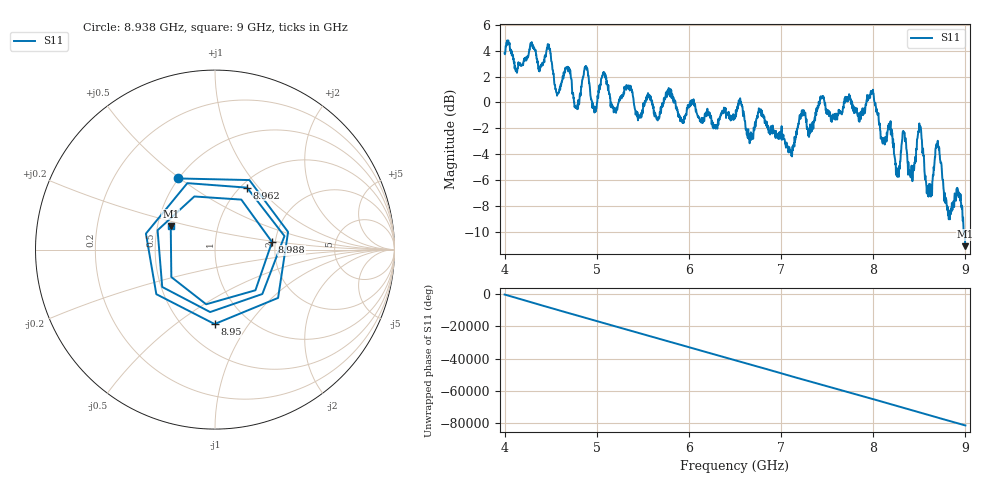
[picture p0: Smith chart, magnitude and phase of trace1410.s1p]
! Created with skrf 1.8.0 (http://scikit-rf.org).
# Hz S RI R 50.0
!freq ReS11 ImS11
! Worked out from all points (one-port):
!   1601 points, 4 GHz to 9 GHz, reference 50 ohm
!   lowest |S11| = -11.1 dB at 9 GHz (marker M1), VSWR 1.78, Z = 29.3 + j8.37 ohm
!   |S11| at or under -10 dB: 8.98249 GHz to 8.985 GHz (2.51 MHz wide, 0.0279 % of centre); 8.991881 GHz to end of sweep
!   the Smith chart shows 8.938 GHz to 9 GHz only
!   S11 on the Smith chart (normalised r, x): 8.938 GHz: 0.50, +0.49; 8.95 GHz: 0.70, -0.71; 8.962 GHz: 1.07, +0.87; 8.988 GHz: 1.92, +0.18; 9 GHz: 0.59, +0.17
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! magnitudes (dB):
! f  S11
! 4 GHz  3.8
! 4.475 GHz  4.4
! 4.562 GHz  0.8
! 4.625 GHz  1.7
! 4.778 GHz  -0.3
! 4.881 GHz  2.8
! 4.972 GHz  -0.6
! 5.072 GHz  2.2
! 5.25 GHz  0.3
! 5.875 GHz  -0.5
! 6.5 GHz  -1.2
! 7.125 GHz  -3.4
! 7.222 GHz  -0.9
! 7.75 GHz  0.3
! 7.988 GHz  0.9
! 8.262 GHz  -5.2
! 8.331 GHz  -2.2
! 8.375 GHz  -4.8
! 8.425 GHz  -6.1
! 8.503 GHz  -2.1
! 8.603 GHz  -6.6
! 8.697 GHz  -3.2
! 8.819 GHz  -9.0
! 8.938 GHz  -7.0
! 8.95 GHz  -7.6
! 8.962 GHz  -8.2
! 8.988 GHz  -9.9
! 9 GHz  -11.1
